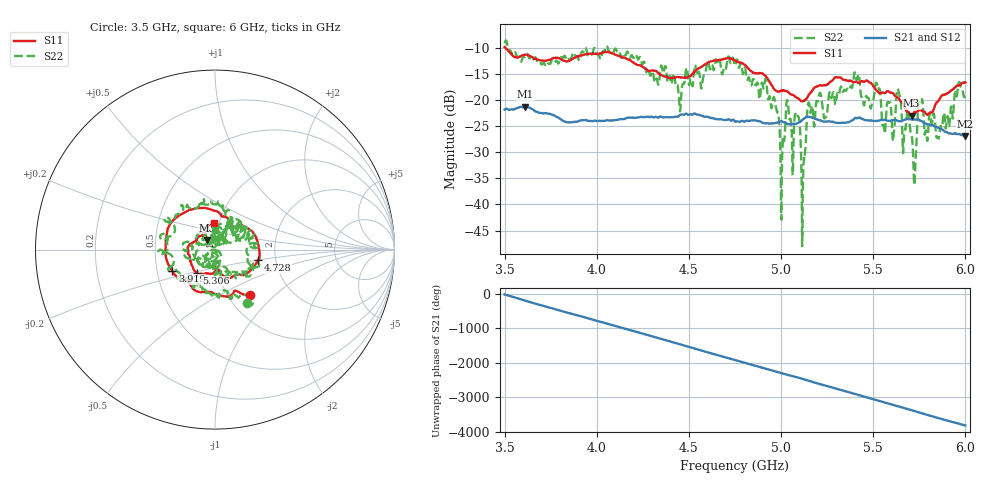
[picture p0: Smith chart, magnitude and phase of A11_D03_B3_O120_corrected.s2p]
! Created with skrf 1.9.0 (http://scikit-rf.org).
# Hz S RI R 50.0
!freq ReS11 ImS11 ReS21 ImS21 ReS12 ImS12 ReS22 ImS22
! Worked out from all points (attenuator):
!   1601 points, 3.5 GHz to 6 GHz, reference 50 ohm
!   highest |S21| = -21.32 dB at 3.611 GHz (marker M1); lowest = -26.9 dB at 5.998 GHz (marker M2)
!   lowest |S11| = -23.0 dB at 5.708 GHz (marker M3), VSWR 1.15, Z = 45.3 + j4.88 ohm
!   |S11| at or under -10 dB: 3.504 GHz to end of sweep
!   |S22| runs from -48.0 to -8.6 dB; largest |S21 - S12| = 0.001
!   S11 on the Smith chart (normalised r, x): 3.5 GHz: 1.25, -0.71; 3.919 GHz: 0.60, -0.15; 4.728 GHz: 1.62, -0.20; 5.306 GHz: 0.79, -0.21; 6 GHz: 0.95, +0.28
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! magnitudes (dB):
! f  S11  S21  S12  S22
! 3.5 GHz  -9.9  -21.8  -21.8  -9.1
! 3.611 GHz  -11.3  -21.3  -21.3  -11.8
! 3.917 GHz  -11.5  -23.9  -23.9  -10.9
! 3.919 GHz  -11.5  -23.9  -23.9  -10.8
! 4.334 GHz  -14.9  -23.4  -23.3  -17.1
! 4.728 GHz  -12.1  -24.0  -23.9  -12.9
! 4.75 GHz  -12.5  -24.2  -24.1  -13.5
! 4.967 GHz  -18.1  -24.4  -24.4  -20.3
! 5.006 GHz  -18.2  -24.1  -24.1  -30.3
! 5.034 GHz  -18.4  -24.6  -24.5  -20.1
! 5.088 GHz  -19.6  -24.5  -24.5  -23.2
! 5.12 GHz  -20.2  -23.7  -23.6  -33.7
! 5.145 GHz  -19.4  -23.2  -23.1  -20.9
! 5.167 GHz  -18.3  -23.4  -23.3  -21.2
! 5.306 GHz  -15.7  -24.4  -24.3  -18.7
! 5.584 GHz  -18.4  -24.0  -24.0  -20.5
! 5.708 GHz  -23.0  -23.7  -23.7  -26.7
! 5.727 GHz  -22.3  -23.8  -23.7  -33.4
! 5.756 GHz  -21.9  -24.0  -23.9  -21.0
! 5.85 GHz  -20.3  -25.3  -25.2  -27.2
! 5.998 GHz  -16.7  -26.9  -26.8  -19.4
! 6 GHz  -16.7  -26.9  -26.8  -19.3
